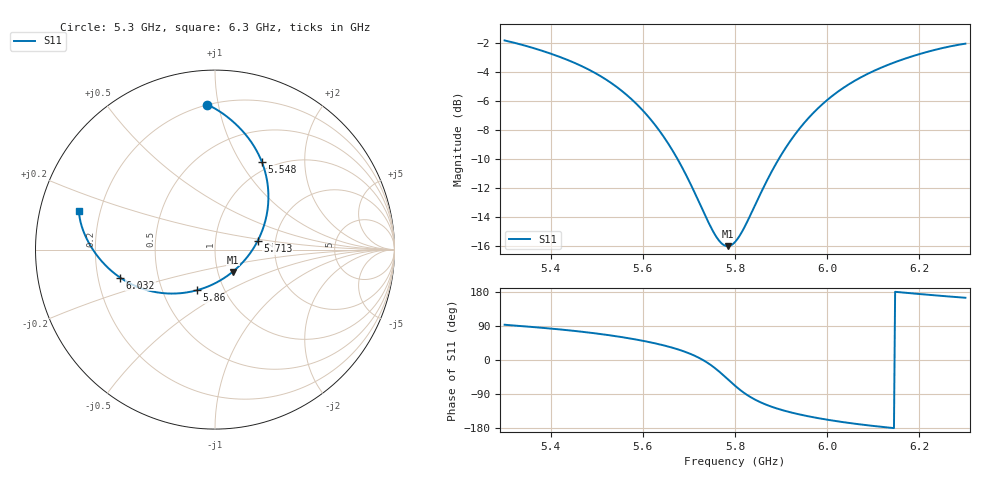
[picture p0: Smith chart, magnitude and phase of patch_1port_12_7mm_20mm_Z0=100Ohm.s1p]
! Created with skrf 1.8.0 (http://scikit-rf.org).
# Hz S RI R 100.0
!freq ReS11 ImS11
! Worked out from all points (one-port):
!   401 points, 5.3 GHz to 6.3 GHz, reference 100 ohm
!   lowest |S11| = -16.0 dB at 5.785 GHz (marker M1), VSWR 1.38, Z = 118 - j29.9 ohm
!   |S11| at or under -10 dB: 5.675 GHz to 5.895 GHz (220.3 MHz wide, 3.81 % of centre)
!   S11 on the Smith chart (normalised r, x): 5.3 GHz: 0.20, +0.93; 5.548 GHz: 0.89, +1.24; 5.713 GHz: 1.61, +0.16; 5.86 GHz: 0.74, -0.36; 6.032 GHz: 0.29, -0.13; 6.3 GHz: 0.12, +0.14
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5.3e9  -0.0426 0.8071
5.36e9  0.0375 0.762
5.425e9  0.1213 0.6936
5.4875e9  0.199 0.6035
5.5175e9  0.2328 0.5491
5.5475e9  0.2618 0.4865
5.55e9  0.2639 0.481
5.585e9  0.2877 0.3974
5.615e9  0.2971 0.3187
5.645e9  0.2944 0.2356
5.675e9  0.2779 0.1508
5.7125e9  0.237 0.047
5.7425e9  0.1884 -0.0301
5.7575e9  0.1592 -0.0656
5.7725e9  0.1271 -0.0986
5.785e9  0.0983 -0.1239
5.8e9  0.0615 -0.1514
5.82e9  0.00949 -0.1829
5.86e9  -0.1015 -0.2267
5.8925e9  -0.1938 -0.2431
5.925e9  -0.2838 -0.2431
5.975e9  -0.4101 -0.2159
6.0325e9  -0.5289 -0.1558
6.05e9  -0.5589 -0.1337
6.11e9  -0.6418 -0.0523
6.175e9  -0.7037 0.039
6.24e9  -0.7429 0.1309
6.3e9  -0.7583 0.2144
